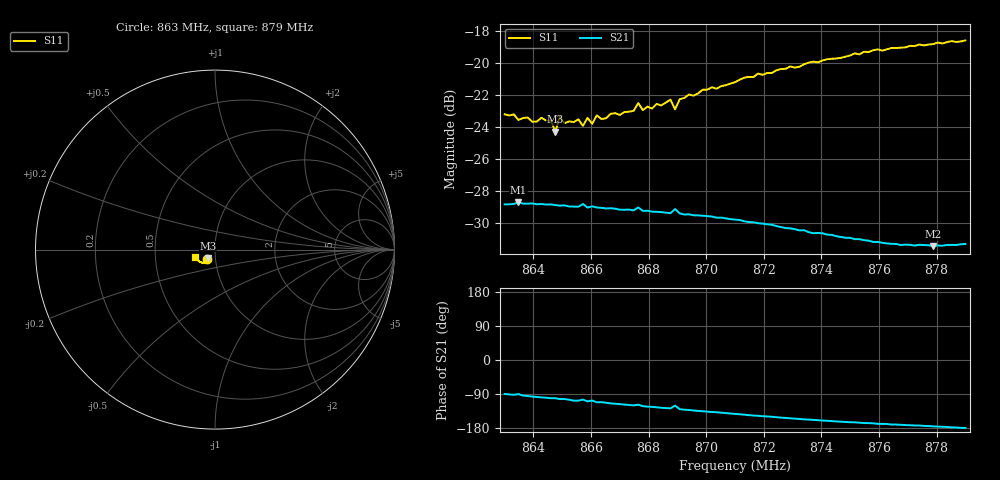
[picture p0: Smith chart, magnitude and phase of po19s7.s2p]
# HZ S RI R 50
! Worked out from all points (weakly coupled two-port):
!   101 points, 863 MHz to 879 MHz, reference 50 ohm
!   highest |S21| = -28.72 dB at 863.48 MHz (marker M1); lowest = -31.5 dB at 877.88 MHz (marker M2)
!   lowest |S11| = -24.3 dB at 864.76 MHz (marker M3), VSWR 1.13, Z = 46 - j4.31 ohm
!   |S11| at or under -10 dB: start of sweep to end of sweep
!   S12 and S22 are empty: the file has one direction only
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8.63e8  -0.0444 -0.0531  0.000228 -0.0361  0 0  0 0
8.6348e8  -0.0395 -0.0533  -4.3e-05 -0.0366  0 0  0 0
8.646e8  -0.0382 -0.054  -0.00679 -0.0354  0 0  0 0
8.6476e8  -0.0395 -0.0466  -0.00676 -0.0353  0 0  0 0
8.6492e8  -0.0403 -0.0547  -0.0081 -0.0349  0 0  0 0
8.6572e8  -0.0303 -0.0559  -0.00905 -0.0351  0 0  0 0
8.6588e8  -0.0383 -0.0555  -0.0116 -0.0333  0 0  0 0
8.6604e8  -0.03 -0.0572  -0.0104 -0.0341  0 0  0 0
8.662e8  -0.0371 -0.0578  -0.013 -0.0328  0 0  0 0
8.67e8  -0.0345 -0.0596  -0.0155 -0.0311  0 0  0 0
8.6764e8  -0.0365 -0.0655  -0.0165 -0.0312  0 0  0 0
8.678e8  -0.0343 -0.0625  -0.0181 -0.0293  0 0  0 0
8.6844e8  -0.0358 -0.0645  -0.0201 -0.0276  0 0  0 0
8.6876e8  -0.0368 -0.0675  -0.0207 -0.0268  0 0  0 0
8.6892e8  -0.024 -0.0675  -0.0177 -0.0301  0 0  0 0
8.6908e8  -0.0378 -0.0672  -0.0217 -0.026  0 0  0 0
8.694e8  -0.04 -0.069  -0.0224 -0.025  0 0  0 0
8.71e8  -0.047 -0.0734  -0.0256 -0.0198  0 0  0 0
8.7372e8  -0.0671 -0.0757  -0.0272 -0.011  0 0  0 0
8.7644e8  -0.092 -0.0634  -0.0268 -0.00453  0 0  0 0
8.7788e8  -0.1034 -0.05  -0.0266 -0.00228  0 0  0 0
8.79e8  -0.1111 -0.0393  -0.0271 -0.000332  0 0  0 0
